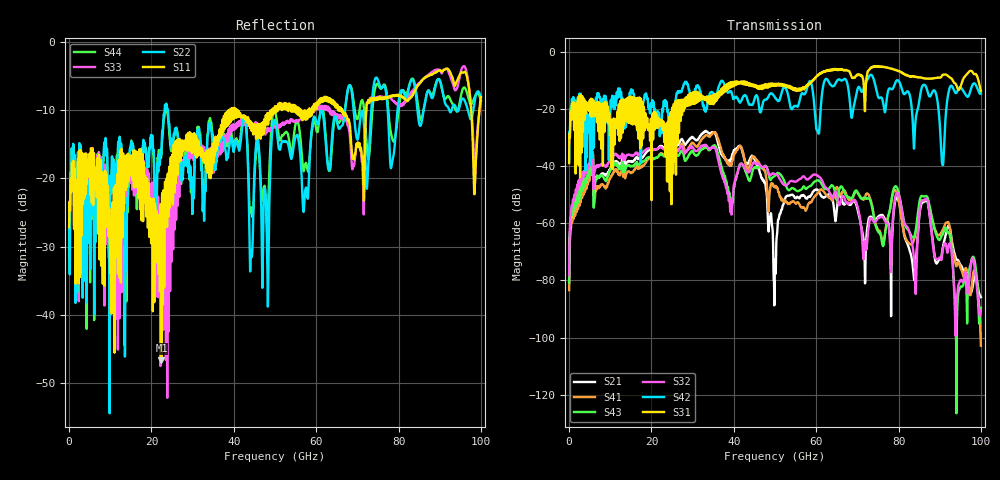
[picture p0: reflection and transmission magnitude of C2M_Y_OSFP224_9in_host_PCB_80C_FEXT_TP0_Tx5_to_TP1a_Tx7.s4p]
# GHz S RI R 45
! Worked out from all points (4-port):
!   4000 points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, 25 MHz to 100 GHz, reference 45 ohm
!   strongest paths, dB at 25 MHz, 25.02 GHz, 50.02 GHz, 75.03 GHz, 100 GHz:
!     S31: -38.9, -20.0, -11.1, -5.1, -13.7
!     S42: -38.3, -28.8, -16.0, -15.6, -14.6
!     S32: -78.2, -34.1, -42.8, -58.2, -90.4
!     S43: -80.9, -36.0, -43.4, -62.8, -89.6
!     S41: -83.4, -34.4, -47.4, -62.2, -102.9
!     S21: -81.0, -32.2, -72.6, -57.6, -85.8
!   lowest |S11| = -46.7 dB at 22.43 GHz (marker M1), VSWR 1.01, Z = 44.6 + j0.159 ohm
!   |S11| at or under -10 dB: start of sweep to 39.03 GHz; 40.91 GHz to 49.22 GHz (8.317 GHz wide, 18.5 % of centre); 66.36 GHz to 72.16 GHz (5.802 GHz wide, 8.38 % of centre) (the widest 3 of 28)
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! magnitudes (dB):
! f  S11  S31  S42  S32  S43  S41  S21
! 25 MHz  -27.2  -38.9  -38.3  -78.2  -80.9  -83.4  -81.0
! 5.35 GHz  -15.6  -16.5  -23.4  -36.5  -38.6  -39.8  -38.3
! 22.43 GHz  -46.7  -25.4  -28.5  -33.4  -35.9  -35.6  -33.0
! 44.7 GHz  -13.6  -11.8  -18.1  -38.9  -41.1  -36.5  -36.5
! 49.98 GHz  -9.6  -11.3  -15.9  -42.7  -43.4  -47.4  -74.1
! 60.1 GHz  -9.7  -8.5  -27.2  -43.0  -45.0  -50.0  -48.2
! 100 GHz  -8.1  -13.7  -14.6  -90.4  -89.6  -102.9  -85.8
